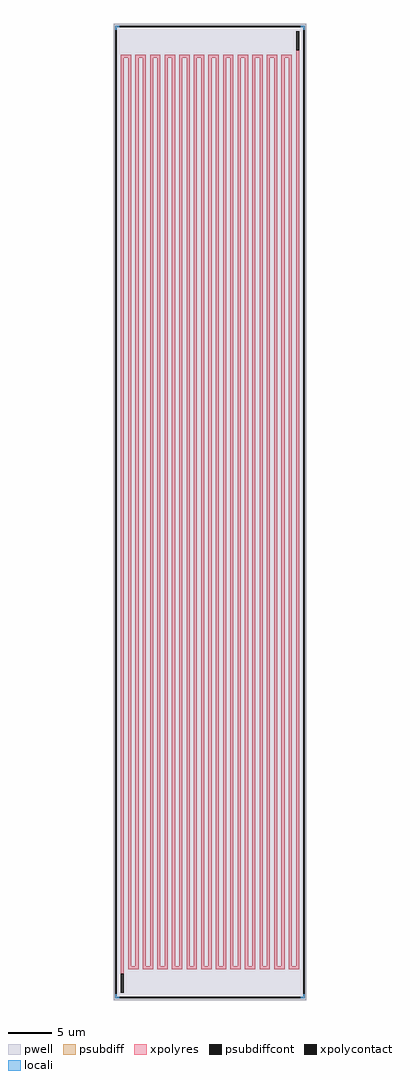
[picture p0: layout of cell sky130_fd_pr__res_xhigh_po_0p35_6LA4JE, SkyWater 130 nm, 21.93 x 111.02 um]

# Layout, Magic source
magic
tech sky130A
magscale 1 2
<< pwell >>
rect -2193 -11102 2193 11102
<< psubdiff >>
rect -2157 11032 -2061 11066
rect 2061 11032 2157 11066
rect -2157 10970 -2123 11032
rect 2123 10970 2157 11032
rect -2157 -11032 -2123 -10970
rect 2123 -11032 2157 -10970
rect -2157 -11066 -2061 -11032
rect 2061 -11066 2157 -11032
<< psubdiffcont >>
rect -2061 11032 2061 11066
rect -2157 -10970 -2123 10970
rect 2123 -10970 2157 10970
rect -2061 -11066 2061 -11032
<< xpolycontact >>
rect 1957 10504 2027 10936
rect -2027 -10936 -1957 -10504
<< xpolyres >>
rect -2027 10330 -1791 10400
rect -2027 -10504 -1957 10330
rect -1861 -10330 -1791 10330
rect -1695 10330 -1459 10400
rect -1695 -10330 -1625 10330
rect -1861 -10400 -1625 -10330
rect -1529 -10330 -1459 10330
rect -1363 10330 -1127 10400
rect -1363 -10330 -1293 10330
rect -1529 -10400 -1293 -10330
rect -1197 -10330 -1127 10330
rect -1031 10330 -795 10400
rect -1031 -10330 -961 10330
rect -1197 -10400 -961 -10330
rect -865 -10330 -795 10330
rect -699 10330 -463 10400
rect -699 -10330 -629 10330
rect -865 -10400 -629 -10330
rect -533 -10330 -463 10330
rect -367 10330 -131 10400
rect -367 -10330 -297 10330
rect -533 -10400 -297 -10330
rect -201 -10330 -131 10330
rect -35 10330 201 10400
rect -35 -10330 35 10330
rect -201 -10400 35 -10330
rect 131 -10330 201 10330
rect 297 10330 533 10400
rect 297 -10330 367 10330
rect 131 -10400 367 -10330
rect 463 -10330 533 10330
rect 629 10330 865 10400
rect 629 -10330 699 10330
rect 463 -10400 699 -10330
rect 795 -10330 865 10330
rect 961 10330 1197 10400
rect 961 -10330 1031 10330
rect 795 -10400 1031 -10330
rect 1127 -10330 1197 10330
rect 1293 10330 1529 10400
rect 1293 -10330 1363 10330
rect 1127 -10400 1363 -10330
rect 1459 -10330 1529 10330
rect 1625 10330 1861 10400
rect 1625 -10330 1695 10330
rect 1459 -10400 1695 -10330
rect 1791 -10330 1861 10330
rect 1957 -10330 2027 10504
rect 1791 -10400 2027 -10330
<< locali >>
rect -2157 11032 -2061 11066
rect 2061 11032 2157 11066
rect -2157 10970 -2123 11032
rect 2123 10970 2157 11032
rect -2157 -11032 -2123 -10970
rect 2123 -11032 2157 -10970
rect -2157 -11066 -2061 -11032
rect 2061 -11066 2157 -11032
<< properties >>
string FIXED_BBOX -2140 -11049 2140 11049
string gencell sky130_fd_pr__res_xhigh_po_0p35
string library sky130
string parameters w 0.35 l 104.0 m 1 nx 25 wmin 0.350 lmin 0.50 rho 2000 val 14.906meg dummy 0 dw 0.0 term 188.2 sterm 0.0 caplen 0 wmax 0.350 guard 1 glc 1 grc 1 gtc 1 gbc 1 compatible {sky130_fd_pr__res_xhigh_po_0p35  sky130_fd_pr__res_xhigh_po_0p69 sky130_fd_pr__res_xhigh_po_1p41  sky130_fd_pr__res_xhigh_po_2p85 sky130_fd_pr__res_xhigh_po_5p73} snake 1 full_metal 1 n_guard 0 hv_guard 0 vias 1 viagb 0 viagt 0 viagl 0 viagr 0
<< end >>
